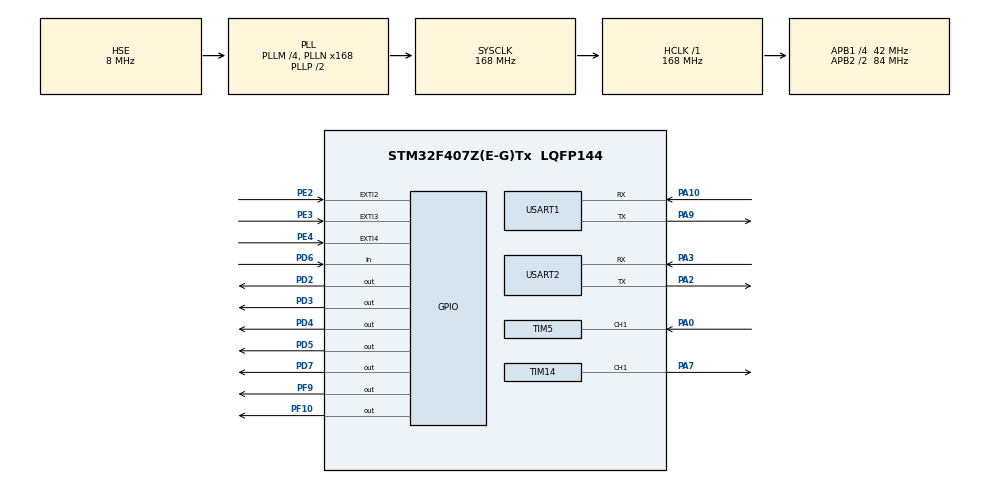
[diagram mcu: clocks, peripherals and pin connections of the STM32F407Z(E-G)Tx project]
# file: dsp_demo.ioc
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Mcu.Family=STM32F4
Mcu.Name=STM32F407Z(E-G)Tx
Mcu.Package=LQFP144
NVIC.EXTI2_IRQn=true\:2\:1\:true\:false\:true\:true\:true
NVIC.EXTI3_IRQn=true\:2\:1\:true\:false\:true\:true\:true
NVIC.EXTI4_IRQn=true\:2\:1\:true\:false\:true\:true\:true
NVIC.PriorityGroup=NVIC_PRIORITYGROUP_2
NVIC.TIM3_IRQn=true\:1\:1\:true\:false\:true\:true\:true
NVIC.TIM5_IRQn=true\:1\:0\:true\:false\:true\:true\:true
NVIC.USART1_IRQn=true\:1\:2\:true\:false\:true\:true\:true
NVIC.USART2_IRQn=true\:1\:1\:true\:false\:true\:true\:true
PA0-WKUP.Signal=S_TIM5_CH1
PA10.Mode=Asynchronous
PA10.Signal=USART1_RX
PA2.Mode=Asynchronous
PA2.Signal=USART2_TX
PA3.Mode=Asynchronous
PA3.Signal=USART2_RX
PA7.Signal=S_TIM14_CH1
PA9.Mode=Asynchronous
PA9.Signal=USART1_TX
PC14-OSC32_IN.Mode=LSE-External-Oscillator
PC14-OSC32_IN.Signal=RCC_OSC32_IN
PC15-OSC32_OUT.Mode=LSE-External-Oscillator
PC15-OSC32_OUT.Signal=RCC_OSC32_OUT
PD2.GPIO_ModeDefaultOutputPP=GPIO_MODE_OUTPUT_PP
PD2.GPIO_PuPd=GPIO_NOPULL
PD2.GPIO_Speed=GPIO_SPEED_FREQ_HIGH
PD2.PinState=GPIO_PIN_RESET
PD2.Signal=GPIO_Output
PD3.GPIO_ModeDefaultOutputPP=GPIO_MODE_OUTPUT_PP
PD3.GPIO_PuPd=GPIO_NOPULL
PD3.GPIO_Speed=GPIO_SPEED_FREQ_HIGH
PD3.PinState=GPIO_PIN_RESET
PD3.Signal=GPIO_Output
PD4.GPIO_ModeDefaultOutputPP=GPIO_MODE_OUTPUT_PP
PD4.GPIO_PuPd=GPIO_NOPULL
PD4.GPIO_Speed=GPIO_SPEED_FREQ_HIGH
PD4.PinState=GPIO_PIN_RESET
PD4.Signal=GPIO_Output
PD5.GPIO_ModeDefaultOutputPP=GPIO_MODE_OUTPUT_PP
PD5.GPIO_PuPd=GPIO_NOPULL
PD5.GPIO_Speed=GPIO_SPEED_FREQ_HIGH
PD5.PinState=GPIO_PIN_RESET
PD5.Signal=GPIO_Output
PD6.Signal=GPIO_Input
PD7.GPIO_ModeDefaultOutputPP=GPIO_MODE_OUTPUT_PP
PD7.GPIO_PuPd=GPIO_NOPULL
PD7.GPIO_Speed=GPIO_SPEED_FREQ_HIGH
PD7.PinState=GPIO_PIN_RESET
PD7.Signal=GPIO_Output
PE2.GPIO_ModeDefaultEXTI=GPIO_MODE_IT_FALLING
PE2.Signal=GPXTI2
PE3.GPIO_ModeDefaultEXTI=GPIO_MODE_IT_FALLING
PE3.Signal=GPXTI3
PE4.GPIO_ModeDefaultEXTI=GPIO_MODE_IT_FALLING
PE4.Signal=GPXTI4
PF10.GPIO_PuPd=GPIO_PULLUP
PF10.GPIO_Speed=GPIO_SPEED_FREQ_HIGH
PF10.PinState=GPIO_PIN_RESET
PF10.Signal=GPIO_Output
PF9.GPIO_ModeDefaultOutputPP=GPIO_MODE_OUTPUT_PP
PF9.GPIO_PuPd=GPIO_PULLUP
PF9.GPIO_Speed=GPIO_SPEED_FREQ_HIGH
PF9.PinState=GPIO_PIN_RESET
PF9.Signal=GPIO_Output
PH0-OSC_IN.Mode=HSE-External-Oscillator
PH0-OSC_IN.Signal=RCC_OSC_IN
PH1-OSC_OUT.Mode=HSE-External-Oscillator
PH1-OSC_OUT.Signal=RCC_OSC_OUT
ProjectManager.HeapSize=0x200
ProjectManager.StackSize=0x400
ProjectManager.TargetToolchain=STM32CubeIDE
RCC.48MHZClocksFreq_Value=84000000
RCC.AHBFreq_Value=168000000
RCC.APB1CLKDivider=RCC_HCLK_DIV4
RCC.APB1Freq_Value=42000000
RCC.APB1TimFreq_Value=84000000
RCC.APB2CLKDivider=RCC_HCLK_DIV2
RCC.APB2Freq_Value=84000000
RCC.APB2TimFreq_Value=168000000
RCC.CortexFreq_Value=168000000
RCC.HCLKFreq_Value=168000000
RCC.HSE_VALUE=8000000
RCC.HSI_VALUE=16000000
RCC.PLLM=4
RCC.PLLN=168
RCC.PLLSourceVirtual=RCC_PLLSOURCE_HSE
RCC.SYSCLKFreq_VALUE=168000000
RCC.SYSCLKSource=RCC_SYSCLKSOURCE_PLLCLK
RCC.VCOOutputFreq_Value=336000000
SH.S_TIM14_CH1.0=TIM14_CH1,PWM Generation1 CH1
SH.S_TIM5_CH1.0=TIM5_CH1,Input_Capture1_from_TI1
TIM14.Channel=TIM_CHANNEL_1
TIM14.Period=1000-1
TIM14.Prescaler=84-1
TIM14.Pulse=500
TIM3.Period=1000-1
TIM3.Prescaler=84-1
TIM3.TIM_MasterOutputTrigger=TIM_TRGO_UPDATE
TIM4.Period=10000-1
TIM4.Prescaler=84-1
TIM5.Channel-Input_Capture1_from_TI1=TIM_CHANNEL_1
TIM5.ICPolarity_CH1=TIM_INPUTCHANNELPOLARITY_FALLING
TIM5.Period=10000-1
TIM5.Prescaler=84-1
TIM5.TIM_MasterOutputTrigger=TIM_TRGO_RESET
USART1.VirtualMode=VM_ASYNC
USART2.VirtualMode=VM_ASYNC
VP_TIM14_VS_ClockSourceINT.Mode=Enable_Timer
VP_TIM3_VS_ClockSourceINT.Mode=Internal
VP_TIM4_VS_ClockSourceINT.Mode=Internal
VP_TIM5_VS_ClockSourceINT.Mode=Internal
board=custom

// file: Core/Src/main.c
/* USER CODE BEGIN Header */
/**
  ******************************************************************************
  * @file           : main.c
  * @brief          : Main program body
  ******************************************************************************
  * @attention
  *
  * <h2><center>&copy; Copyright (c) 2021 STMicroelectronics.
  * All rights reserved.</center></h2>
  *
  * This software component is licensed by ST under BSD 3-Clause license,
  * the "License"; You may not use this file except in compliance with the
  * License. You may obtain a copy of the License at:
  *                        opensource.org/licenses/BSD-3-Clause
  *
  ******************************************************************************
  */
/* USER CODE END Header */
#include "main.h"
#include "tim.h"
#include "usart.h"
#include "gpio.h"

/* USER CODE BEGIN Includes */
#include "math.h"
#include "arm_math.h"
#include "base.h"
#include "outputdata.h"
#include "ADS8688.h"
#include "hmi_driver.h"
#include "hmi_user_uart.h"
#include "cmd_process.h"
#include "cmd_queue.h"
#include <stdio.h>
/* USER CODE END Includes */

/* USER CODE BEGIN PD */
#define LED0 PFout(9)	// DS0
#define LED1 PFout(10)	// DS1
/* USER CODE END PD */

/* USER CODE BEGIN PV */
u32 capture_sta=0,period=0;
u8 flag,caltime=0;
u16 t=28;
u16 adcx[500],i=0;
float mean;

//iir
float input[1024],output[1024],IIR_State[8];
const float iir_params[10]={1.0f,2.0f,1.0f,1.4942806864993292f,-0.69434704310417339f,1.0f, 2.0f,1.0f,1.2287186180807914f,-0.39322938197740648f};
arm_biquad_casd_df1_inst_f32 S;
float ScaleValues=0.050016589151210988f*0.041127690974153711f;

//fft
#define FFT_SIZE 1024 //实数序列的长度
float Input[FFT_SIZE],Output[FFT_SIZE],Real_Output[FFT_SIZE];
arm_rfft_fast_instance_f32 FFT;
//初始化该结构体 arm_rfft_fast_f32(&S, Input, Output, 0);//ifft_flag=0是正变换， 为1则是逆 变换

float mean1;
float test[100],fx[500];
const float sin1[256]={/*256点正弦查找表*/
	  0.00000,0.02464,0.04926,0.07385,0.09840,0.12289,0.14730,0.17163,0.19585,0.21995,0.24391,
	  0.26773,0.29139,0.31487,0.33816,0.36124,0.38411,0.40674,0.42912,0.45124,0.47309,0.49466,
	  0.51592,0.53687,0.55749,0.57777,0.59771,0.61728,0.63647,0.65528,0.67370,0.69170,0.70928,
	  0.72643,0.74314,0.75940,0.77520,0.79053,0.80538,0.81974,0.83360,0.84696,0.85980,0.87212,
	  0.88391,0.89516,0.90587,0.91603,0.92564,0.93468,0.94315,0.95106,0.95838,0.96512,0.97128,
	  0.97685,0.98182,0.98620,0.98998,0.99316,0.99573,0.99771,0.99907,0.99983,0.99998,0.99953,
	  0.99846,0.99680,0.99452,0.99164,0.98817,0.98409,0.97941,0.97414,0.96828,0.96183,0.95479,
	  0.94718,0.93899,0.93023,0.92091,0.91102,0.90059,0.88960,0.87808,0.86603,0.85344,0.84034,
	  0.82673,0.81262,0.79802,0.78293,0.76736,0.75133,0.73484,0.71791,0.70054,0.68275,0.66454,
	  0.64593,0.62692,0.60754,0.58779,0.56767,0.54722,0.52643,0.50533,0.48391,0.46220,0.44022,
	  0.41796,0.39545,0.37270,0.34973,0.32654,0.30315,0.27958,0.25584,0.23195,0.20791,0.18375,
	  0.15948,0.13511,0.11065,0.08613,0.06156,0.03695,0.01232,-0.01232,-0.03695,-0.06156,
	  -0.08613,-0.11065,-0.13511,-0.15948,-0.18375,-0.20791,-0.23195,-0.25584,-0.27958,-0.30315,
	  -0.32654,-0.34973,-0.37270,-0.39545,-0.41796,-0.44022,-0.46220,-0.48391,-0.50533,-0.52643,
	  -0.54722,-0.56767,-0.58779,-0.60754,-0.62692,-0.64593,-0.66454,-0.68275,-0.70054,-0.71791,
	  -0.73484,-0.75133,-0.76736,-0.78293,-0.79802,-0.81262,-0.82673,-0.84034,-0.85344,-0.86603,
	  -0.87808,-0.88960,-0.90059,-0.91102,-0.92091,-0.93023,-0.93899,-0.94718,-0.95479,-0.96183,
	  -0.96828,-0.97414,-0.97941,-0.98409,-0.98817,-0.99164,-0.99452,-0.99680,-0.99846,-0.99953,
	  -0.99998,-0.99983,-0.99907,-0.99771,-0.99573,-0.99316,-0.98998,-0.98620,-0.98182,-0.97685,
	  -0.97128,-0.96512,-0.95838,-0.95106,-0.94315,-0.93468,-0.92564,-0.91603,-0.90587,-0.89516,
	  -0.88391,-0.87212,-0.85980,-0.84696,-0.83360,-0.81974,-0.80538,-0.79053,-0.77520,-0.75940,
	  -0.74314,-0.72643,-0.70928,-0.69170,-0.67370,-0.65528,-0.63647,-0.61728,-0.59771,-0.57777,
	  -0.55749,-0.53687,-0.51592,-0.49466,-0.47309,-0.45124,-0.42912,-0.40674,-0.38411,-0.36124,
	  -0.33816,-0.31487,-0.29139,-0.26773,-0.24391,-0.21995,-0.19585,-0.17163,-0.14730,-0.12289,
	  -0.09840,-0.07385,-0.04926,-0.02464,-0.00000};
/* USER CODE END PV */

void SystemClock_Config(void);
/* USER CODE BEGIN PFP */
void delay_out(u8 flag,u16 t);

/* USER CODE END PFP */

int main(void)
{

  /* MCU Configuration--------------------------------------------------------*/

  /* Reset of all peripherals, Initializes the Flash interface and the Systick. */
  HAL_Init();

  /* Configure the system clock */
  SystemClock_Config();

  /* Initialize all configured peripherals */
  MX_GPIO_Init();
  MX_USART1_UART_Init();
  MX_TIM5_Init();
  MX_TIM14_Init();
  MX_USART2_UART_Init();
  MX_TIM4_Init();
  MX_TIM3_Init();
  /* USER CODE BEGIN 2 */
  delay_init(168);
  ADS8688_Init_Single();
  HAL_TIM_Base_Start_IT(&htim3);
  HAL_TIM_IC_Start_IT(&htim5, TIM_CHANNEL_1);
  HAL_TIM_Base_Start(&htim14);
  HAL_TIM_PWM_Start(&htim14, TIM_CHANNEL_1);
  TFT_Init();
  arm_biquad_cascade_df1_init_f32(&S,2,(float *)iir_params,IIR_State);
  arm_rfft_fast_init_f32(&FFT,FFT_SIZE);
  for(i=0;i<1024;i++)
  {
	  fx[i] = 1500*sin(2*PI*i*350.0/6400)+1000+1500*sin(2*PI*i*600.0/6400);
	  input[i]=fx[i];
  }
  arm_biquad_cascade_df1_f32(&S, fx, output, 1024);
  arm_scale_f32(output, ScaleValues,output, 1024);
  arm_rfft_fast_f32(&FFT, output, Output, 0);
  arm_cmplx_mag_f32(Output, Real_Output, FFT_SIZE);
//  for(i=0;i<1024;i++)
//  {
//	  OutData[1]=Real_Output[i];
//	  OutData[0]=fx[i];
//	  OutPut_Data();
//  }
  /* USER CODE END 2 */

  /* Infinite loop */
  while (1)
  {

    /* USER CODE BEGIN 3 */
	  if(caltime)
	  {
		  arm_mean_f32((float *)&adcx, 500, &mean );
		  caltime=0;
		  HAL_TIM_Base_Start(&htim3);
		  LED1=!LED1;
		  SetTextFloat(0, 16, mean,3, 0);
		  printf("123\r\n");

	  }
  }
  /* USER CODE END 3 */
}

void SystemClock_Config(void)
{
  RCC_OscInitTypeDef RCC_OscInitStruct = {0};
  RCC_ClkInitTypeDef RCC_ClkInitStruct = {0};

  /** Configure the main internal regulator output voltage
  */
  __HAL_RCC_PWR_CLK_ENABLE();
  __HAL_PWR_VOLTAGESCALING_CONFIG(PWR_REGULATOR_VOLTAGE_SCALE1);
  /** Initializes the RCC Oscillators according to the specified parameters
  * in the RCC_OscInitTypeDef structure.
  */
  RCC_OscInitStruct.OscillatorType = RCC_OSCILLATORTYPE_HSE;
  RCC_OscInitStruct.HSEState = RCC_HSE_ON;
  RCC_OscInitStruct.PLL.PLLState = RCC_PLL_ON;
  RCC_OscInitStruct.PLL.PLLSource = RCC_PLLSOURCE_HSE;
  RCC_OscInitStruct.PLL.PLLM = 4;
  RCC_OscInitStruct.PLL.PLLN = 168;
  RCC_OscInitStruct.PLL.PLLP = RCC_PLLP_DIV2;
  RCC_OscInitStruct.PLL.PLLQ = 4;
  if (HAL_RCC_OscConfig(&RCC_OscInitStruct) != HAL_OK)
  {
    Error_Handler();
  }
  /** Initializes the CPU, AHB and APB buses clocks
  */
  RCC_ClkInitStruct.ClockType = RCC_CLOCKTYPE_HCLK|RCC_CLOCKTYPE_SYSCLK
                              |RCC_CLOCKTYPE_PCLK1|RCC_CLOCKTYPE_PCLK2;
  RCC_ClkInitStruct.SYSCLKSource = RCC_SYSCLKSOURCE_PLLCLK;
  RCC_ClkInitStruct.AHBCLKDivider = RCC_SYSCLK_DIV1;
  RCC_ClkInitStruct.APB1CLKDivider = RCC_HCLK_DIV4;
  RCC_ClkInitStruct.APB2CLKDivider = RCC_HCLK_DIV2;

  if (HAL_RCC_ClockConfig(&RCC_ClkInitStruct, FLASH_LATENCY_5) != HAL_OK)
  {
    Error_Handler();
  }
}

/* USER CODE BEGIN 4 */

void HAL_TIM_IC_CaptureCallback(TIM_HandleTypeDef *htim)
{
	if(htim->Instance==TIM5)
	{
		if(htim->Channel==HAL_TIM_ACTIVE_CHANNEL_1)
		{
			if(!capture_sta)
			{
				delay_out(0,t);
				HAL_TIM_Base_Stop(htim);
				__HAL_TIM_SET_COUNTER(&htim5,0);
				__HAL_TIM_SET_CAPTUREPOLARITY(htim,TIM_CHANNEL_1,TIM_INPUTCHANNELPOLARITY_RISING);
				HAL_TIM_Base_Start(htim);
				capture_sta=1;
			}
			else
			{
				delay_out(1,t);
				period=__HAL_TIM_GET_COMPARE(htim,TIM_CHANNEL_1);
				__HAL_TIM_SET_CAPTUREPOLARITY(htim,TIM_CHANNEL_1,TIM_INPUTCHANNELPOLARITY_FALLING);
				capture_sta=0;
			}
		}
	}
}

void HAL_TIM_PeriodElapsedCallback(TIM_HandleTypeDef *htim)
{
	if(htim == &htim3)
	{
		adcx[i]=(float)(get_ADS_ch1()-32767)*4096/13128;
		i++;
		if(i>=500)
		{
			i=0;
			caltime=1;
			HAL_TIM_Base_Stop(htim);
		}
	}
}
void HAL_GPIO_EXTI_Callback(uint16_t GPIO_Pin)
{
	if(GPIO_Pin==GPIO_PIN_2)
	{
		t+=28;
	}
	else if(GPIO_Pin==GPIO_PIN_3)
	{
		HAL_GPIO_TogglePin(GPIOF, GPIO_PIN_9);
	}
	else if(GPIO_Pin==GPIO_PIN_4)
	{
		HAL_GPIO_WritePin(GPIOF, GPIO_PIN_9, GPIO_PIN_RESET);
	}
}

void delay_out(u8 flag,u16 t)
{
	if(flag)
	{
		delay_us(t);
		LED0=1;
	}
	else
	{
		delay_us(t);
		LED0=0;
	}
}

/* USER CODE END 4 */

void Error_Handler(void)
{
  __disable_irq();
  while (1)
  {
  }
}

/************************ (C) COPYRIGHT STMicroelectronics *****END OF FILE****/
